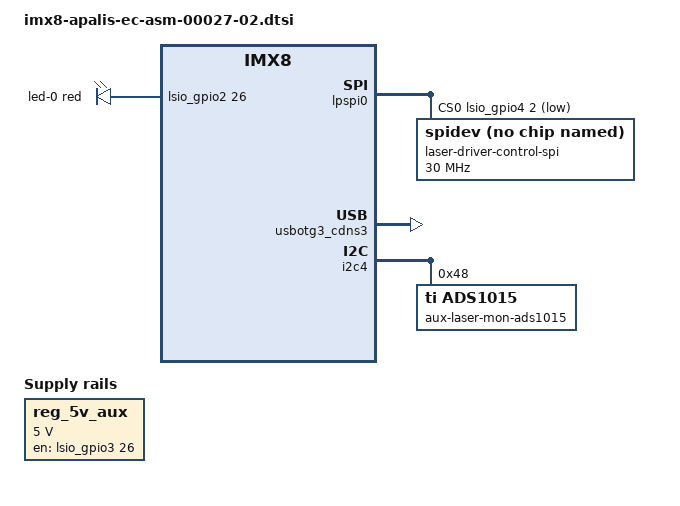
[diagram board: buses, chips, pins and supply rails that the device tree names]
// SPDX-License-Identifier: GPL-2.0-or-later OR MIT
/*
 * Copyright 2024 Refeyn
 */

#include <dt-bindings/leds/common.h>
#include "imx8-apalis-generic-aux.dtsi"

/ {
	aux-leds {
		compatible = "gpio-leds";
		pinctrl-names = "default";
		pinctrl-0 = <&pinctrl_aux_led>;

		led-0 {
			color = <LED_COLOR_ID_RED>;
			default-state = "on";
			function = LED_FUNCTION_INDICATOR;
            gpios = <&lsio_gpio2 26 GPIO_ACTIVE_HIGH>;
            linux,default-trigger = "timer";
		};
	};

    reg_5v_aux: regulator-5v-aux {
        compatible = "regulator-fixed";
        pinctrl-names = "default";
        pinctrl-0 = <&pinctrl_5v_aux_regulator>;
        regulator-name = "reg_5v_aux";
        regulator-min-microvolt = <5000000>;
        regulator-max-microvolt = <5000000>;
        gpio = <&lsio_gpio3 26 GPIO_ACTIVE_HIGH>;
        enable-active-high;
        regulator-always-on;

        regulator-state-mem {
            regulator-off-in-suspend;
        };
    };
};

/* Apalis SPI1 */
&lpspi0 {
	#address-cells = <1>;
	#size-cells = <0>;
    pinctrl-names = "default";
    pinctrl-0 = <&pinctrl_lpspi0cs>;
    cs-gpios = <&lsio_gpio4 2 GPIO_ACTIVE_LOW>;
    assigned-clock-rates = <60000000>;
    status = "okay";

    laser-driver-control-spi@0 { // Laser Driver Control
        /* Use compatible "rohm,dh2228fv" to bind spidev driver */
        reg = <0>;
        compatible = "rohm,dh2228fv";
        spi-max-frequency = <30000000>;
    };
};

/* Apalis USBH4 SuperSpeed */
&usbotg3_cdns3 {
    status = "okay";
};

&i2c4 {
    aux-laser-mon-ads1015@48 {
        compatible = "ti,ads1015";
        reg = <0x48>;
        #address-cells = <1>;
        #size-cells = <0>;

        channel@4 {
            reg = <4>;
            ti,gain = <0>;
            ti,datarate = <0>;
        };

        channel@5 {
            reg = <5>;
            ti,gain = <0>;
            ti,datarate = <0>;
        };

        channel@6 {
            reg = <6>;
            ti,gain = <0>;
            ti,datarate = <0>;
        };

        channel@7 {
            reg = <7>;
            ti,gain = <0>;
            ti,datarate = <0>;
        };
    };
};

&iomuxc {
    pinctrl-0 = <&pinctrl_hog>, <&pinctrl_hog_extra>;

    pinctrl_hog_extra: hogextragrp {
        fsl,pins = <IMX8QM_M41_GPIO0_00_LSIO_GPIO0_IO12		0x06000061>, /* AUX 3 Shutter enable */
                <IMX8QM_ESAI0_TX4_RX1_LSIO_GPIO2_IO30		0x06000061>, /* Interlock 1 */
                <IMX8QM_ESAI0_TX5_RX0_LSIO_GPIO2_IO31		0x06000061>; /* Interlock 2 */
    };

    pinctrl_aux_led: auxledgrp {
        fsl,pins = <IMX8QM_ESAI0_TX0_LSIO_GPIO2_IO26		0x06000061>;
    };

    pinctrl_5v_aux_regulator: aux5vreggrp {
        fsl,pins = <IMX8QM_MLB_SIG_LSIO_GPIO3_IO26			0x06000061>;
    };

    /* Apalis SPI1 */
    pinctrl_lpspi0cs: lpspi0grp {
        fsl,pins = <IMX8QM_SPI0_SCK_DMA_SPI0_SCK			0x0600004c>,
                <IMX8QM_SPI0_SDO_DMA_SPI0_SDO				0x0600004c>,
                <IMX8QM_SPI0_SDI_DMA_SPI0_SDI				0x0600004c>,
                <IMX8QM_FLEXCAN2_TX_LSIO_GPIO4_IO02			0x0600004c>; // Not using CS0
    };
};
